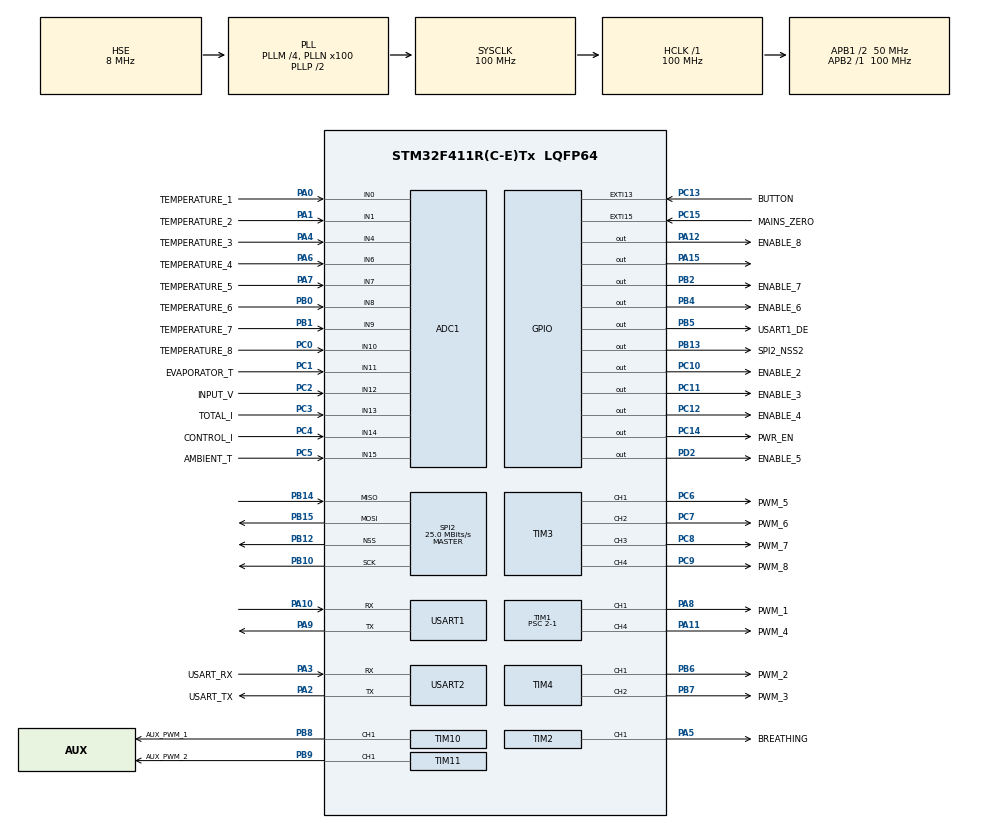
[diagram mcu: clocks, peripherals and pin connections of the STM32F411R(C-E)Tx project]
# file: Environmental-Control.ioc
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ADC1.Channel-0\#ChannelRegularConversion=ADC_CHANNEL_0
ADC1.Channel-1\#ChannelRegularConversion=ADC_CHANNEL_1
ADC1.Channel-10\#ChannelRegularConversion=ADC_CHANNEL_13
ADC1.Channel-11\#ChannelRegularConversion=ADC_CHANNEL_14
ADC1.Channel-12\#ChannelRegularConversion=ADC_CHANNEL_15
ADC1.Channel-2\#ChannelRegularConversion=ADC_CHANNEL_4
ADC1.Channel-3\#ChannelRegularConversion=ADC_CHANNEL_6
ADC1.Channel-4\#ChannelRegularConversion=ADC_CHANNEL_7
ADC1.Channel-5\#ChannelRegularConversion=ADC_CHANNEL_8
ADC1.Channel-6\#ChannelRegularConversion=ADC_CHANNEL_9
ADC1.Channel-7\#ChannelRegularConversion=ADC_CHANNEL_10
ADC1.Channel-8\#ChannelRegularConversion=ADC_CHANNEL_11
ADC1.Channel-9\#ChannelRegularConversion=ADC_CHANNEL_12
ADC1.ContinuousConvMode=ENABLE
ADC1.EOCSelection=ADC_EOC_SEQ_CONV
ADC1.NbrOfConversion=13
ADC1.NbrOfConversionFlag=1
ADC1.Rank-0\#ChannelRegularConversion=1
ADC1.Rank-1\#ChannelRegularConversion=2
ADC1.Rank-10\#ChannelRegularConversion=11
ADC1.Rank-11\#ChannelRegularConversion=12
ADC1.Rank-12\#ChannelRegularConversion=13
ADC1.Rank-2\#ChannelRegularConversion=3
ADC1.Rank-3\#ChannelRegularConversion=4
ADC1.Rank-4\#ChannelRegularConversion=5
ADC1.Rank-5\#ChannelRegularConversion=6
ADC1.Rank-6\#ChannelRegularConversion=7
ADC1.Rank-7\#ChannelRegularConversion=8
ADC1.Rank-8\#ChannelRegularConversion=9
ADC1.Rank-9\#ChannelRegularConversion=10
ADC1.SamplingTime-0\#ChannelRegularConversion=ADC_SAMPLETIME_3CYCLES
ADC1.SamplingTime-1\#ChannelRegularConversion=ADC_SAMPLETIME_3CYCLES
ADC1.SamplingTime-10\#ChannelRegularConversion=ADC_SAMPLETIME_3CYCLES
ADC1.SamplingTime-11\#ChannelRegularConversion=ADC_SAMPLETIME_3CYCLES
ADC1.SamplingTime-12\#ChannelRegularConversion=ADC_SAMPLETIME_3CYCLES
ADC1.SamplingTime-2\#ChannelRegularConversion=ADC_SAMPLETIME_3CYCLES
ADC1.SamplingTime-3\#ChannelRegularConversion=ADC_SAMPLETIME_3CYCLES
ADC1.SamplingTime-4\#ChannelRegularConversion=ADC_SAMPLETIME_3CYCLES
ADC1.SamplingTime-5\#ChannelRegularConversion=ADC_SAMPLETIME_3CYCLES
ADC1.SamplingTime-6\#ChannelRegularConversion=ADC_SAMPLETIME_3CYCLES
ADC1.SamplingTime-7\#ChannelRegularConversion=ADC_SAMPLETIME_3CYCLES
ADC1.SamplingTime-8\#ChannelRegularConversion=ADC_SAMPLETIME_3CYCLES
ADC1.SamplingTime-9\#ChannelRegularConversion=ADC_SAMPLETIME_3CYCLES
ADC1.ScanConvMode=ENABLE
ADC1.master=1
Dma.ADC1.0.Direction=DMA_PERIPH_TO_MEMORY
Dma.ADC1.0.FIFOMode=DMA_FIFOMODE_DISABLE
Dma.ADC1.0.Instance=DMA2_Stream0
Dma.ADC1.0.MemDataAlignment=DMA_MDATAALIGN_HALFWORD
Dma.ADC1.0.MemInc=DMA_MINC_ENABLE
Dma.ADC1.0.Mode=DMA_CIRCULAR
Dma.ADC1.0.PeriphDataAlignment=DMA_PDATAALIGN_HALFWORD
Dma.ADC1.0.PeriphInc=DMA_PINC_DISABLE
Dma.ADC1.0.Priority=DMA_PRIORITY_LOW
Dma.Request0=ADC1
Mcu.Family=STM32F4
Mcu.Name=STM32F411R(C-E)Tx
Mcu.Package=LQFP64
NVIC.DMA2_Stream0_IRQn=true\:0\:0\:false\:false\:true\:false\:true\:true
NVIC.PriorityGroup=NVIC_PRIORITYGROUP_4
NVIC.TIM5_IRQn=true\:15\:0\:false\:false\:true\:false\:true\:true
NVIC.TimeBase=TIM5_IRQn
NVIC.TimeBaseIP=TIM5
PA0-WKUP.GPIO_Label=TEMPERATURE_1
PA0-WKUP.Signal=ADCx_IN0
PA1.GPIO_Label=TEMPERATURE_2
PA1.Signal=ADCx_IN1
PA10.Mode=Asynchronous
PA10.Signal=USART1_RX
PA11.GPIO_Label=PWM_4
PA11.Signal=S_TIM1_CH4
PA12.GPIO_Label=ENABLE_8
PA12.Signal=GPIO_Output
PA13.GPIO_Label=TMS
PA13.Signal=SYS_JTMS-SWDIO
PA14.GPIO_Label=TCK
PA14.Signal=SYS_JTCK-SWCLK
PA15.Signal=GPIO_Output
PA2.GPIO_Label=USART_TX
PA2.Mode=Asynchronous
PA2.Signal=USART2_TX
PA3.GPIO_Label=USART_RX
PA3.Mode=Asynchronous
PA3.Signal=USART2_RX
PA4.GPIO_Label=TEMPERATURE_3
PA4.Signal=ADCx_IN4
PA5.GPIO_Label=BREATHING
PA5.Signal=S_TIM2_CH1_ETR
PA6.GPIO_Label=TEMPERATURE_4
PA6.Signal=ADCx_IN6
PA7.GPIO_Label=TEMPERATURE_5
PA7.Signal=ADCx_IN7
PA8.GPIO_Label=PWM_1
PA8.Signal=S_TIM1_CH1
PA9.Mode=Asynchronous
PA9.Signal=USART1_TX
PB0.GPIO_Label=TEMPERATURE_6
PB0.Signal=ADCx_IN8
PB1.GPIO_Label=TEMPERATURE_7
PB1.Signal=ADCx_IN9
PB10.Mode=Full_Duplex_Master
PB10.Signal=SPI2_SCK
PB12.Mode=NSS_Signal_Hard_Output
PB12.Signal=SPI2_NSS
PB13.GPIO_Label=SPI2_NSS2
PB13.Signal=GPIO_Output
PB14.Mode=Full_Duplex_Master
PB14.Signal=SPI2_MISO
PB15.Mode=Full_Duplex_Master
PB15.Signal=SPI2_MOSI
PB2.GPIO_Label=ENABLE_7
PB2.Signal=GPIO_Output
PB3.Signal=SYS_JTDO-SWO
PB4.GPIO_Label=ENABLE_6
PB4.Signal=GPIO_Output
PB5.GPIO_Label=USART1_DE
PB5.Signal=GPIO_Output
PB6.GPIO_Label=PWM_2
PB6.Signal=S_TIM4_CH1
PB7.GPIO_Label=PWM_3
PB7.Signal=S_TIM4_CH2
PB8.GPIO_Label=AUX_PWM_1
PB8.Signal=S_TIM10_CH1
PB9.GPIO_Label=AUX_PWM_2
PB9.Signal=S_TIM11_CH1
PC0.GPIO_Label=TEMPERATURE_8
PC0.Signal=ADCx_IN10
PC1.GPIO_Label=EVAPORATOR_T
PC1.Signal=ADCx_IN11
PC10.GPIO_Label=ENABLE_2
PC10.Signal=GPIO_Output
PC11.GPIO_Label=ENABLE_3
PC11.Signal=GPIO_Output
PC12.GPIO_Label=ENABLE_4
PC12.Signal=GPIO_Output
PC13-ANTI_TAMP.GPIO_Label=BUTTON
PC13-ANTI_TAMP.GPIO_ModeDefaultEXTI=GPIO_MODE_IT_FALLING
PC13-ANTI_TAMP.Signal=GPXTI13
PC14-OSC32_IN.GPIO_Label=PWR_EN
PC14-OSC32_IN.Signal=GPIO_Output
PC15-OSC32_OUT.GPIO_Label=MAINS_ZERO
PC15-OSC32_OUT.Signal=GPXTI15
PC2.GPIO_Label=INPUT_V
PC2.Signal=ADCx_IN12
PC3.GPIO_Label=TOTAL_I
PC3.Signal=ADCx_IN13
PC4.GPIO_Label=CONTROL_I
PC4.Signal=ADCx_IN14
PC5.GPIO_Label=AMBIENT_T
PC5.Signal=ADCx_IN15
PC6.GPIO_Label=PWM_5
PC6.Signal=S_TIM3_CH1
PC7.GPIO_Label=PWM_6
PC7.Signal=S_TIM3_CH2
PC8.GPIO_Label=PWM_7
PC8.Signal=S_TIM3_CH3
PC9.GPIO_Label=PWM_8
PC9.Signal=S_TIM3_CH4
PD2.GPIO_Label=ENABLE_5
PD2.Signal=GPIO_Output
PH0\ -\ OSC_IN.Mode=HSE-External-Clock-Source
PH0\ -\ OSC_IN.Signal=RCC_OSC_IN
PH1\ -\ OSC_OUT.Mode=HSE-External-Clock-Source
PH1\ -\ OSC_OUT.Signal=RCC_OSC_OUT
ProjectManager.HeapSize=0x200
ProjectManager.StackSize=0x400
ProjectManager.TargetToolchain=STM32CubeIDE
RCC.48MHZClocksFreq_Value=50000000
RCC.AHBFreq_Value=100000000
RCC.APB1CLKDivider=RCC_HCLK_DIV2
RCC.APB1Freq_Value=50000000
RCC.APB1TimFreq_Value=100000000
RCC.APB2Freq_Value=100000000
RCC.APB2TimFreq_Value=100000000
RCC.CortexFreq_Value=100000000
RCC.FLatency-AdvancedSettings=FLASH_LATENCY_3
RCC.HCLKFreq_Value=100000000
RCC.HSE_VALUE=8000000
RCC.HSI_VALUE=16000000
RCC.LSE_VALUE=32768
RCC.PLLM=4
RCC.PLLN=100
RCC.PLLSourceVirtual=RCC_PLLSOURCE_HSE
RCC.SYSCLKFreq_VALUE=100000000
RCC.SYSCLKSource=RCC_SYSCLKSOURCE_PLLCLK
RCC.VCOOutputFreq_Value=200000000
SH.ADCx_IN0.0=ADC1_IN0,IN0
SH.ADCx_IN1.0=ADC1_IN1,IN1
SH.ADCx_IN10.0=ADC1_IN10,IN10
SH.ADCx_IN11.0=ADC1_IN11,IN11
SH.ADCx_IN12.0=ADC1_IN12,IN12
SH.ADCx_IN13.0=ADC1_IN13,IN13
SH.ADCx_IN14.0=ADC1_IN14,IN14
SH.ADCx_IN15.0=ADC1_IN15,IN15
SH.ADCx_IN4.0=ADC1_IN4,IN4
SH.ADCx_IN6.0=ADC1_IN6,IN6
SH.ADCx_IN7.0=ADC1_IN7,IN7
SH.ADCx_IN8.0=ADC1_IN8,IN8
SH.ADCx_IN9.0=ADC1_IN9,IN9
SH.S_TIM10_CH1.0=TIM10_CH1,PWM Generation1 CH1
SH.S_TIM11_CH1.0=TIM11_CH1,PWM Generation1 CH1
SH.S_TIM1_CH1.0=TIM1_CH1,PWM Generation1 CH1
SH.S_TIM1_CH4.0=TIM1_CH4,PWM Generation4 CH4
SH.S_TIM2_CH1_ETR.0=TIM2_CH1,PWM Generation1 CH1
SH.S_TIM3_CH1.0=TIM3_CH1,PWM Generation1 CH1
SH.S_TIM3_CH2.0=TIM3_CH2,PWM Generation2 CH2
SH.S_TIM3_CH3.0=TIM3_CH3,PWM Generation3 CH3
SH.S_TIM3_CH4.0=TIM3_CH4,PWM Generation4 CH4
SH.S_TIM4_CH1.0=TIM4_CH1,PWM Generation1 CH1
SH.S_TIM4_CH2.0=TIM4_CH2,PWM Generation2 CH2
SPI2.CalculateBaudRate=25.0 MBits/s
SPI2.Direction=SPI_DIRECTION_2LINES
SPI2.Mode=SPI_MODE_MASTER
SPI2.VirtualNSS=VM_NSSHARD
SPI2.VirtualType=VM_MASTER
TIM1.Channel-PWM\ Generation1\ CH1=TIM_CHANNEL_1
TIM1.Channel-PWM\ Generation4\ CH4=TIM_CHANNEL_4
TIM1.Period=5000-1
TIM1.Prescaler=2-1
TIM10.Channel=TIM_CHANNEL_1
TIM11.Channel=TIM_CHANNEL_1
TIM2.Channel-PWM\ Generation1\ CH1=TIM_CHANNEL_1
TIM2.Period=65535 - 1
TIM2.Prescaler=2-1
TIM3.Channel-PWM\ Generation1\ CH1=TIM_CHANNEL_1
TIM3.Channel-PWM\ Generation2\ CH2=TIM_CHANNEL_2
TIM3.Channel-PWM\ Generation3\ CH3=TIM_CHANNEL_3
TIM3.Channel-PWM\ Generation4\ CH4=TIM_CHANNEL_4
TIM4.Channel-PWM\ Generation1\ CH1=TIM_CHANNEL_1
TIM4.Channel-PWM\ Generation2\ CH2=TIM_CHANNEL_2
USART1.VirtualMode=VM_ASYNC
USART2.VirtualMode=VM_ASYNC
VP_SYS_VS_tim5.Mode=TIM5
VP_TIM10_VS_ClockSourceINT.Mode=Enable_Timer
VP_TIM11_VS_ClockSourceINT.Mode=Enable_Timer
board=NUCLEO-F411RE

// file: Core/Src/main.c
/* USER CODE BEGIN Header */
/**
  ******************************************************************************
  * @file           : main.c
  * @brief          : Main program body
  ******************************************************************************
  * @attention
  *
  * Copyright (c) 2023 STMicroelectronics.
  * All rights reserved.
  *
  * This software is licensed under terms that can be found in the LICENSE file
  * in the root directory of this software component.
  * If no LICENSE file comes with this software, it is provided AS-IS.
  *
  ******************************************************************************
  */
/* USER CODE END Header */
#include "main.h"
#include "adc.h"
#include "dma.h"
#include "spi.h"
#include "tim.h"
#include "usart.h"
#include "gpio.h"

/* USER CODE BEGIN Includes */
#include "FreeRTOS.h"
#include "task.h"
/* USER CODE END Includes */

void SystemClock_Config(void);
/* USER CODE BEGIN PFP */
extern void startControllers();
/* USER CODE END PFP */

int main(void)
{

  /* MCU Configuration--------------------------------------------------------*/

  /* Reset of all peripherals, Initializes the Flash interface and the Systick. */
  HAL_Init();

  /* Configure the system clock */
  SystemClock_Config();

  /* Initialize all configured peripherals */
  MX_GPIO_Init();
  MX_DMA_Init();
  MX_USART2_UART_Init();
  MX_ADC1_Init();
  MX_SPI2_Init();
  MX_TIM1_Init();
  MX_TIM2_Init();
  MX_TIM3_Init();
  MX_TIM4_Init();
  MX_TIM10_Init();
  MX_TIM11_Init();
  MX_USART1_UART_Init();
  /* USER CODE BEGIN 2 */
  startControllers();

  vTaskStartScheduler();

  /* USER CODE END 2 */

  /* Infinite loop */
  while (1)
  {

  }
}

void SystemClock_Config(void)
{
  RCC_OscInitTypeDef RCC_OscInitStruct = {0};
  RCC_ClkInitTypeDef RCC_ClkInitStruct = {0};

  /** Configure the main internal regulator output voltage
  */
  __HAL_RCC_PWR_CLK_ENABLE();
  __HAL_PWR_VOLTAGESCALING_CONFIG(PWR_REGULATOR_VOLTAGE_SCALE1);

  /** Initializes the RCC Oscillators according to the specified parameters
  * in the RCC_OscInitTypeDef structure.
  */
  RCC_OscInitStruct.OscillatorType = RCC_OSCILLATORTYPE_HSE;
  RCC_OscInitStruct.HSEState = RCC_HSE_BYPASS;
  RCC_OscInitStruct.PLL.PLLState = RCC_PLL_ON;
  RCC_OscInitStruct.PLL.PLLSource = RCC_PLLSOURCE_HSE;
  RCC_OscInitStruct.PLL.PLLM = 4;
  RCC_OscInitStruct.PLL.PLLN = 100;
  RCC_OscInitStruct.PLL.PLLP = RCC_PLLP_DIV2;
  RCC_OscInitStruct.PLL.PLLQ = 4;
  if (HAL_RCC_OscConfig(&RCC_OscInitStruct) != HAL_OK)
  {
    Error_Handler();
  }

  /** Initializes the CPU, AHB and APB buses clocks
  */
  RCC_ClkInitStruct.ClockType = RCC_CLOCKTYPE_HCLK|RCC_CLOCKTYPE_SYSCLK
                              |RCC_CLOCKTYPE_PCLK1|RCC_CLOCKTYPE_PCLK2;
  RCC_ClkInitStruct.SYSCLKSource = RCC_SYSCLKSOURCE_PLLCLK;
  RCC_ClkInitStruct.AHBCLKDivider = RCC_SYSCLK_DIV1;
  RCC_ClkInitStruct.APB1CLKDivider = RCC_HCLK_DIV2;
  RCC_ClkInitStruct.APB2CLKDivider = RCC_HCLK_DIV1;

  if (HAL_RCC_ClockConfig(&RCC_ClkInitStruct, FLASH_LATENCY_3) != HAL_OK)
  {
    Error_Handler();
  }
}

void HAL_TIM_PeriodElapsedCallback(TIM_HandleTypeDef *htim)
{
  if (htim->Instance == TIM5) {
    HAL_IncTick();
  }
}

void Error_Handler(void)
{
  __disable_irq();
  while (1)
  {
  }
}

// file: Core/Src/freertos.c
/* USER CODE BEGIN Header */
/**
  ******************************************************************************
  * File Name          : freertos.c
  * Description        : Code for freertos applications
  ******************************************************************************
  * @attention
  *
  * Copyright (c) 2023 STMicroelectronics.
  * All rights reserved.
  *
  * This software is licensed under terms that can be found in the LICENSE file
  * in the root directory of this software component.
  * If no LICENSE file comes with this software, it is provided AS-IS.
  *
  ******************************************************************************
  */
/* USER CODE END Header */

#include "FreeRTOS.h"
#include "task.h"
#include "main.h"
#include "cmsis_os.h"

/* USER CODE BEGIN Includes */
#include "queue.h"
#include "SystemData.h"
/* USER CODE END Includes */

/* USER CODE BEGIN Variables */
QueueHandle_t commandsIn;
/* USER CODE END Variables */
/* Definitions for defaultTask */
osThreadId_t defaultTaskHandle;
const osThreadAttr_t defaultTask_attributes = {
  .name = "defaultTask",
  .stack_size = 128 * 4,
  .priority = (osPriority_t) osPriorityNormal,
};

/* USER CODE BEGIN FunctionPrototypes */

/* ---- CONTROL TASK ------ */
void TemperatureControllerInit();
void TemperatureControllerRun();
void HumidityControllerInit();
void HumidityControllerRun();
void CO2ControllerInit();
void CO2ControllerRun();

/* ---- COMMS TASK ------ */
void CommsControllerInit();
void CommsControllerRun();
/* USER CODE END FunctionPrototypes */

void StartDefaultTask(void *argument);

void MX_FREERTOS_Init(void); /* (MISRA C 2004 rule 8.1) */

void MX_FREERTOS_Init(void) {

  /* USER CODE BEGIN RTOS_QUEUES */
  commandsIn = xQueueCreate(20, sizeof(command_t));
  /* USER CODE END RTOS_QUEUES */

  /* Create the thread(s) */
  /* creation of defaultTask */
  defaultTaskHandle = osThreadNew(StartDefaultTask, NULL, &defaultTask_attributes);

}

void StartDefaultTask(void *argument)
{
  for(;;)
  {
    osDelay(1);
  }
}
